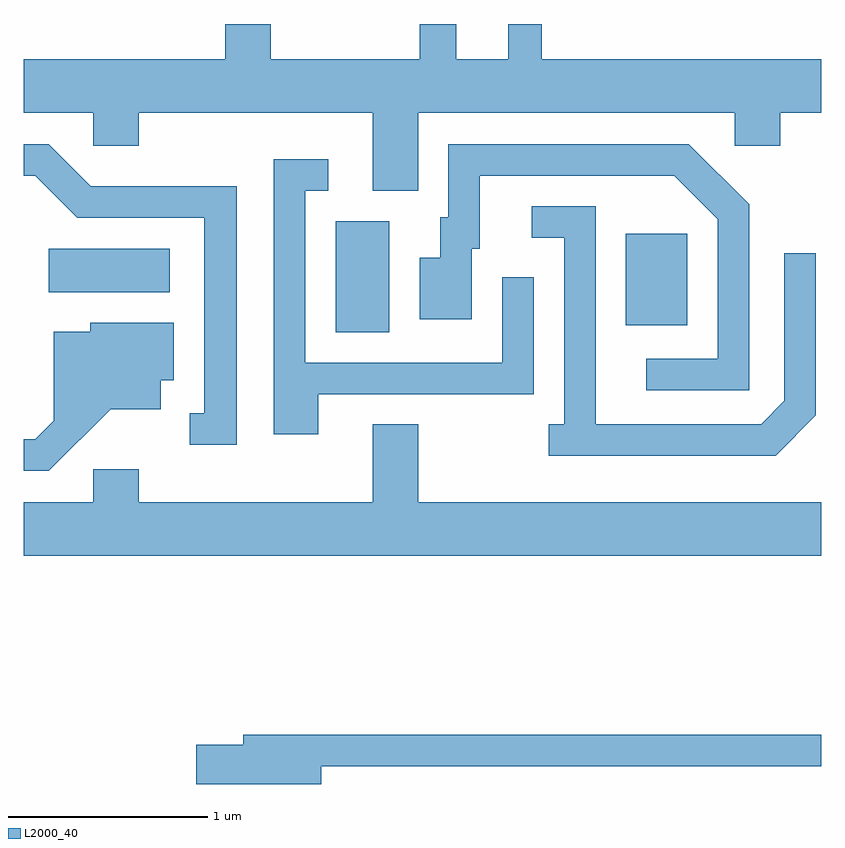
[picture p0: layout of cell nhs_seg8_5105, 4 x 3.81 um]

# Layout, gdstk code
import gdstk
lib = gdstk.Library(unit=1e-6, precision=1e-09)
def R(c, l, rs):  # rectangles x0, y0, x1, y1
    for r in rs: c.add(gdstk.rectangle(r[:2], r[2:], *l))
def P(c, l, *ps):  # polygons
    for p in ps: c.add(gdstk.Polygon(p, *l))
L2000_40 = (2000, 40)

nhs_seg8_5105 = lib.new_cell('nhs_seg8_5105')
R(nhs_seg8_5105, L2000_40, [(339.176,1910.796,339.444,1911.354), (340.631,1910.831,340.939,1911.289), (337.736,1910.996,338.344,1911.214)])
P(nhs_seg8_5105, L2000_40, [(339.589,1911.896),(341.176,1911.896),(341.176,1911.731),(341.404,1911.731),(341.404,1911.896),(341.611,1911.896),(341.611,1912.164),(340.209,1912.164),(340.209,1912.342),(340.041,1912.342),(340.041,1912.164),(339.779,1912.164),(339.779,1912.342),(339.596,1912.342),(339.596,1912.164),(338.849,1912.164),(338.849,1912.342),(338.621,1912.342),(338.621,1912.164),(337.611,1912.164),(337.611,1911.896),(337.961,1911.896),(337.961,1911.731),(338.189,1911.731),(338.189,1911.896),(339.361,1911.896),(339.361,1911.506),(339.589,1911.506)],
  [(338.679,1911.529),(337.947,1911.529),(337.737,1911.739),(337.611,1911.739),(337.611,1911.581),(337.669,1911.581),(337.879,1911.371),(338.516,1911.371),(338.516,1910.389),(338.443,1910.389),(338.443,1910.231),(338.679,1910.231)],
  [(341.249,1911.437),(340.947,1911.739),(339.741,1911.739),(339.741,1911.374),(339.701,1911.374),(339.701,1911.169),(339.596,1911.169),(339.596,1910.861),(339.859,1910.861),(339.859,1911.216),(339.899,1911.216),(339.899,1911.581),(340.874,1911.581),(341.091,1911.364),(341.091,1910.664),(340.733,1910.664),(340.733,1910.506),(341.249,1910.506)],
  [(339.089,1910.486),(340.169,1910.486),(340.169,1911.073),(340.011,1911.073),(340.011,1910.644),(339.024,1910.644),(339.024,1911.506),(339.138,1911.506),(339.138,1911.664),(338.866,1911.664),(338.866,1910.286),(339.089,1910.286)],
  [(341.584,1910.379),(341.584,1911.193),(341.426,1911.193),(341.426,1910.452),(341.309,1910.334),(340.479,1910.334),(340.479,1911.429),(340.158,1911.429),(340.158,1911.271),(340.321,1911.271),(340.321,1910.334),(340.243,1910.334),(340.243,1910.176),(341.382,1910.176)],
  [(338.047,1910.411),(338.299,1910.411),(338.299,1910.556),(338.364,1910.556),(338.364,1910.844),(337.946,1910.844),(337.946,1910.799),(337.761,1910.799),(337.761,1910.352),(337.669,1910.259),(337.611,1910.259),(337.611,1910.101),(337.737,1910.101)],
  [(341.611,1909.944),(339.589,1909.944),(339.589,1910.334),(339.361,1910.334),(339.361,1909.944),(338.189,1909.944),(338.189,1910.109),(337.961,1910.109),(337.961,1909.944),(337.611,1909.944),(337.611,1909.676),(341.611,1909.676)],
  [(339.104,1908.621),(341.611,1908.621),(341.611,1908.779),(338.711,1908.779),(338.711,1908.729),(338.476,1908.729),(338.476,1908.531),(339.104,1908.531)])

lib.write_gds('nhs_seg8_5105.gds')
